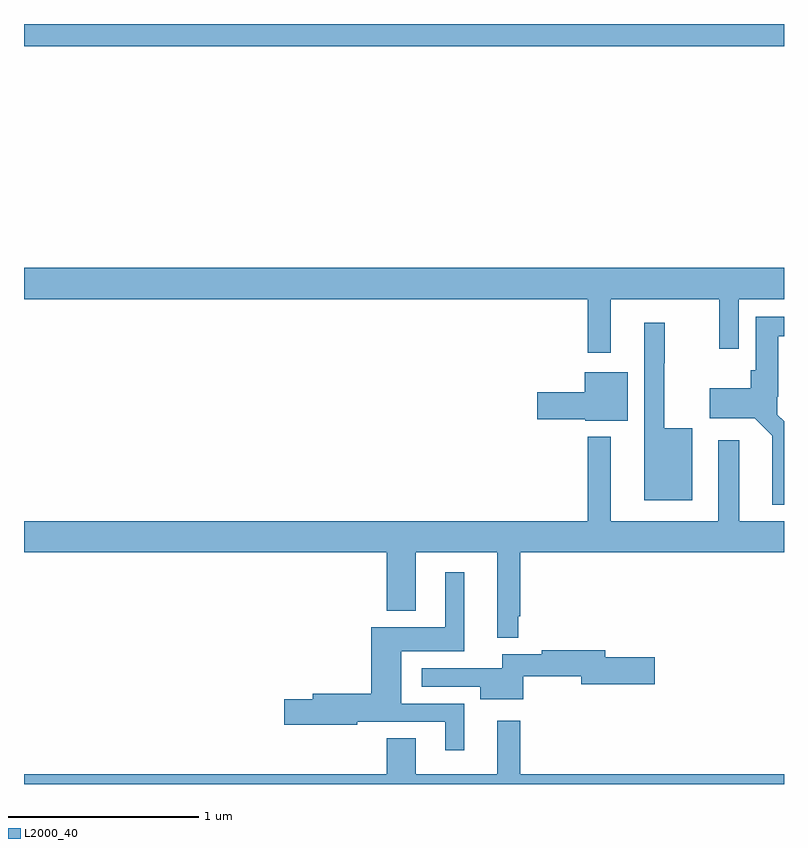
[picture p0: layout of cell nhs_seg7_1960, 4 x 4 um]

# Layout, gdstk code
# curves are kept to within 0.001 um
import gdstk
lib = gdstk.Library(unit=1e-6, precision=1e-09)
def R(c, l, rs):  # rectangles x0, y0, x1, y1
    for r in rs: c.add(gdstk.rectangle(r[:2], r[2:], *l))
def P(c, l, *ps):  # polygons
    for p in ps: c.add(gdstk.Polygon(p, *l))
L2000_40 = (2000, 40)

nhs_seg7_1960 = lib.new_cell('nhs_seg7_1960')
R(nhs_seg7_1960, L2000_40, [(241,1065.884,245,1066)])
P(nhs_seg7_1960, L2000_40, [(244.087,1064.552),(244.66,1064.552),(244.66,1064.292),(244.761,1064.292),(244.761,1064.552),(245,1064.552),(245,1064.716),(241,1064.716),(241,1064.552),(243.966,1064.552),(243.966,1064.271),(244.087,1064.271)],
  [(245,1063.909),(244.965,1063.944),(244.965,1064.038),(244.969,1064.038),(244.969,1064.357),(245,1064.357),(245,1064.458),(244.85,1064.458),(244.85,1064.178),(244.825,1064.178),(244.825,1064.083),(244.608,1064.083),(244.608,1063.925),(244.845,1063.925),(244.938,1063.832),(244.937,1063.469),(245,1063.469)],
  [(244.516,1063.873),(244.369,1063.873),(244.369,1064.215),(244.372,1064.215),(244.372,1064.428),(244.265,1064.428),(244.265,1063.493),(244.516,1063.493)],
  [(244.177,1064.167),(243.95,1064.167),(243.95,1064.061),(243.702,1064.061),(243.702,1063.919),(243.954,1063.919),(243.954,1063.913),(244.177,1063.913)],
  [(243.602,1062.883),(243.613,1062.883),(243.613,1063.22),(245,1063.22),(245,1063.384),(244.765,1063.384),(244.765,1063.81),(244.655,1063.81),(244.655,1063.384),(244.087,1063.384),(244.087,1063.828),(243.966,1063.828),(243.966,1063.384),(241,1063.384),(241,1063.22),(242.909,1063.22),(242.909,1062.911),(243.061,1062.911),(243.061,1063.22),(243.491,1063.22),(243.491,1062.771),(243.602,1062.771)],
  [(243.316,1062.423),(242.986,1062.423),(242.986,1062.698),(243.316,1062.698),(243.316,1063.114),(243.218,1063.114),(243.218,1062.826),(242.828,1062.826),(242.828,1062.476),(242.519,1062.476),(242.519,1062.446),(242.37,1062.446),(242.37,1062.311),(242.754,1062.311),(242.754,1062.327),(243.218,1062.327),(243.218,1062.177),(243.316,1062.177)],
  [(243.628,1062.568),(243.932,1062.568),(243.932,1062.526),(244.321,1062.526),(244.321,1062.668),(244.06,1062.668),(244.06,1062.704),(243.724,1062.704),(243.724,1062.684),(243.518,1062.684),(243.518,1062.609),(243.093,1062.609),(243.093,1062.513),(243.401,1062.513),(243.401,1062.446),(243.628,1062.446)],
  [(245,1062.052),(243.613,1062.052),(243.613,1062.334),(243.491,1062.334),(243.491,1062.052),(243.061,1062.052),(243.061,1062.242),(242.909,1062.242),(242.909,1062.052),(241,1062.052),(241,1062),(245,1062)])

lib.write_gds('nhs_seg7_1960.gds')
